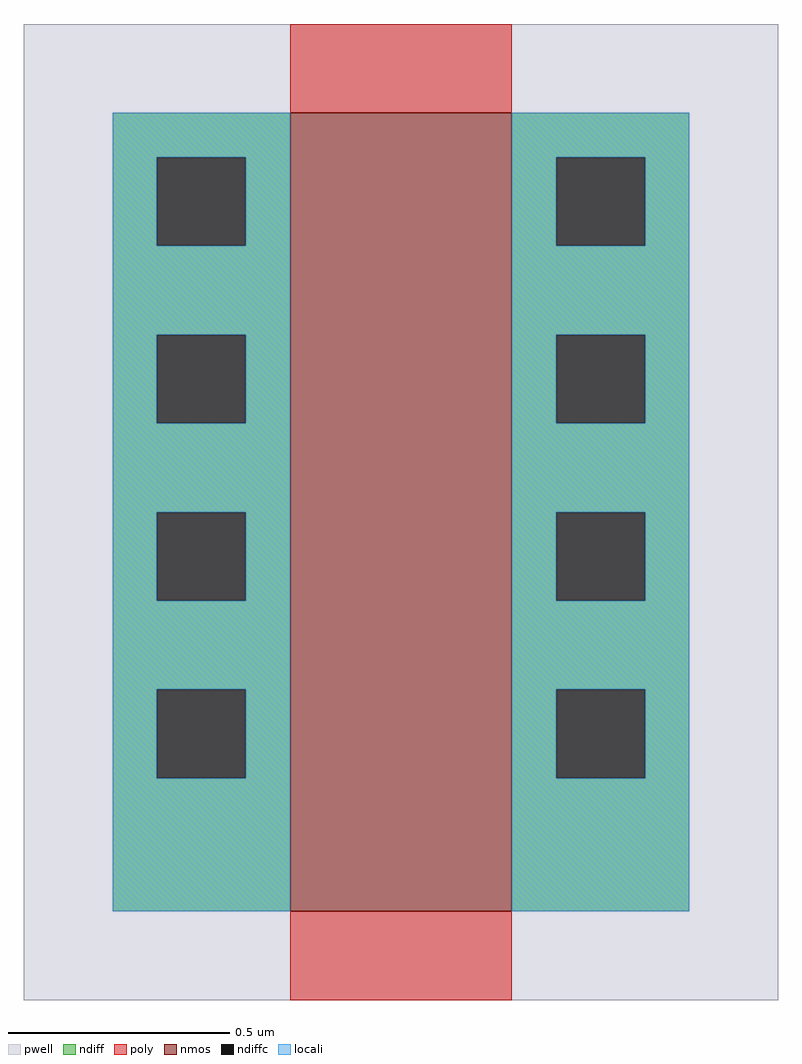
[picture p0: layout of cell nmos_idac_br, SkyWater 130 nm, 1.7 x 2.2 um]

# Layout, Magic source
magic
tech sky130A
<< pwell >>
rect -60 -20 110 200
<< nmos >>
rect 0 0 50 180
<< ndiff >>
rect -40 170 0 180
rect -40 150 -30 170
rect -10 150 0 170
rect -40 130 0 150
rect -40 110 -30 130
rect -10 110 0 130
rect -40 90 0 110
rect -40 70 -30 90
rect -10 70 0 90
rect -40 50 0 70
rect -40 30 -30 50
rect -10 30 0 50
rect -40 0 0 30
rect 50 170 90 180
rect 50 150 60 170
rect 80 150 90 170
rect 50 130 90 150
rect 50 110 60 130
rect 80 110 90 130
rect 50 90 90 110
rect 50 70 60 90
rect 80 70 90 90
rect 50 50 90 70
rect 50 30 60 50
rect 80 30 90 50
rect 50 0 90 30
<< ndiffc >>
rect -30 150 -10 170
rect -30 110 -10 130
rect -30 70 -10 90
rect -30 30 -10 50
rect 60 150 80 170
rect 60 110 80 130
rect 60 70 80 90
rect 60 30 80 50
<< poly >>
rect 0 180 50 200
rect 0 -20 50 0
<< locali >>
rect -40 170 0 180
rect -40 150 -30 170
rect -10 150 0 170
rect -40 130 0 150
rect -40 110 -30 130
rect -10 110 0 130
rect -40 90 0 110
rect -40 70 -30 90
rect -10 70 0 90
rect -40 50 0 70
rect -40 30 -30 50
rect -10 30 0 50
rect -40 0 0 30
rect 50 170 90 180
rect 50 150 60 170
rect 80 150 90 170
rect 50 130 90 150
rect 50 110 60 130
rect 80 110 90 130
rect 50 90 90 110
rect 50 70 60 90
rect 80 70 90 90
rect 50 50 90 70
rect 50 30 60 50
rect 80 30 90 50
rect 50 0 90 30
<< end >>
